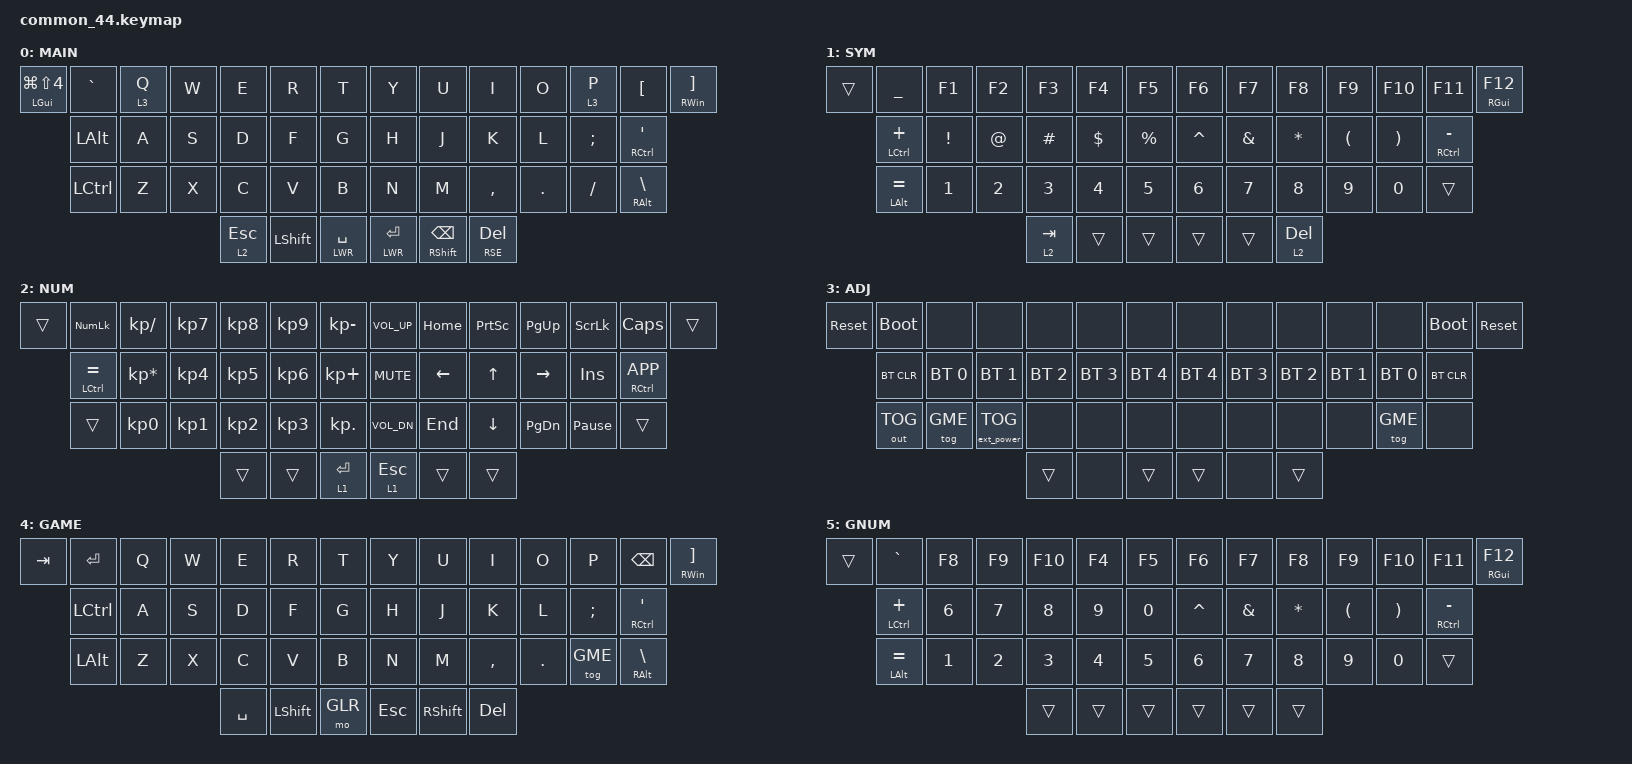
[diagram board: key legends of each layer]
/*
 * Copyright (c) 2020 The ZMK Contributors
 *
 * SPDX-License-Identifier: MIT
 */

#include <behaviors.dtsi>
#include <dt-bindings/zmk/bt.h>
#include <dt-bindings/zmk/ext_power.h>
#include <dt-bindings/zmk/keys.h>
#include <dt-bindings/zmk/outputs.h>

#define DEF 0
#define LWR 1
#define lower_layer LWR
#define RSE 2
#define raise_layer RSE
#define ADJ 3
#define adjust_layer ADJ
#define GME 4
#define GLR 5

&lt { quick-tap-ms = <200>; };

&mt { quick-tap-ms = <200>; };

/ {
    combos {
        compatible = "zmk,combos";

        ESCape {
            bindings = <&kp ESCAPE>;
            key-positions = <1 2>;
        };

        BSP {
            bindings = <&kp BACKSPACE>;
            key-positions = <11 12>;
        };

        TABul {
            bindings = <&kp TAB>;
            key-positions = <14 15>;
        };
    };

    macros {
        lang: lang {
            compatible = "zmk,behavior-macro";
            #binding-cells = <0>;
            bindings =
                <&macro_press>,
                <&kp LCTRL>,
                <&macro_tap>,
                <&kp SPACE>,
                <&macro_release>,
                <&kp LCTRL>;

            label = "LANG";
        };
    };

    behaviors {
        LT2Lang: LT2Lang {
            compatible = "zmk,behavior-hold-tap";
            label = "LT2LANG";
            bindings = <&lt>, <&lang>;

            #binding-cells = <2>;
            tapping-term-ms = <150>;
            flavor = "balanced";
            hold-trigger-key-positions = <38>;
        };

        lt2esclang: lt2esclang {
            compatible = "zmk,behavior-tap-dance";
            label = "LT2ESCLANG";
            #binding-cells = <0>;
            bindings = <&lt 2 ESCAPE>, <&lang>;
        };
    };

    keymap {
        compatible = "zmk,keymap";

        default_layer {
            label = "MAIN";

            // -----------------------------------------------------------------------------------------
            // |  GUI |   ~  |  Q  |  W  |  E  |  R  |  T  |   |  Y  |  U   |  I  |  O  |  P  |  [   | GUI/] |
            //        | CTRL |  A  |  S  |  D  |  F  |  G  |   |  H  |  J   |  K  |  L  |  ;  |CTRL/'|
            //        | LALT |  Z  |  X  |  C  |  V  |  B  |   |  N  |  M   |  ,  |  .  |  /  | RALT |
            //                           | RSE | SPC | LWR |   | LWR | BKSP | RSE |

            bindings = <
&mt LEFT_GUI LG(LS(NUMBER_4))  &kp GRAVE     &lt 3 Q  &kp W  &kp E         &kp R           &kp T            &kp Y          &kp U           &kp I        &kp O    &lt 3 P   &kp LBKT       &mt RWIN RBKT
                               &kp LEFT_ALT  &kp A    &kp S  &kp D         &kp F           &kp G            &kp H          &kp J           &kp K        &kp L    &kp SEMI  &mt RCTRL SQT
                               &kp LCTRL     &kp Z    &kp X  &kp C         &kp V           &kp B            &kp N          &kp M           &kp COMMA    &kp DOT  &kp FSLH  &mt RALT BSLH
                                                             &lt 2 ESCAPE  &kp LEFT_SHIFT  &lt LWR SPACE    &lt LWR ENTER  &mt RSHFT BSPC  &lt RSE DEL
            >;
        };

        lower_layer {
            label = "SYM";

            // -----------------------------------------------------------------------------------------
            // |     |  _  |  F1 |  F2 |  F3 |  F4 |  F5 |   |  F6 |  F7 |  F8 |  F9 | F10 | F11 | F12 |
            //       |  +  |  !  |  @  |  #  |  $  |  %  |   |  ^  |  &  |  *  |  (  |  )  |  -  |
            //       |  =  |  1  |  2  |  3  |  4  |  5  |   |  6  |  7  |  8  |  9  |  0  |     |
            //                    | GUI |     | SPC |   | ENT |     | ALT |

            bindings = <
&trans  &kp UNDER       &kp F1    &kp F2  &kp F3     &kp F4    &kp F5       &kp F6     &kp F7    &kp F8     &kp F9    &kp F10   &kp F11          &mt RGUI F12
        &mt LCTRL PLUS  &kp EXCL  &kp AT  &kp HASH   &kp DLLR  &kp PRCNT    &kp CARET  &kp AMPS  &kp STAR   &kp LPAR  &kp RPAR  &mt RCTRL MINUS
        &mt LALT EQUAL  &kp N1    &kp N2  &kp N3     &kp N4    &kp N5       &kp N6     &kp N7    &kp N8     &kp N9    &kp N0    &trans
                                          &lt 2 TAB  &trans    &trans       &trans     &trans    &lt 2 DEL
            >;
        };

        raise_layer {
            label = "NUM";

            // -----------------------------------------------------------------------------------------
            // |     | NMLK |  /  |  7  |  8  |  9  |  -  |   | VOLU| HOME| PRSC| PGUP| SCLK| CLCK|     |
            //       | CTRL |  *  |  4  |  5  |  6  |  +  |   | MUT | LEFT|  UP | RGHT| INS | APP |
            //       |      |  0  |  1  |  2  |  3  |  .  |   | VOLD| END | DOWN| PGDN| PAUS|     |
            //                          |     |     | ADJ |   | ADJ |     |     |

            bindings = <
&trans  &kp KP_NUM       &kp KP_SLASH     &kp KP_N7  &kp KP_N8  &kp KP_N9  &kp KP_MINUS    &kp C_VOL_UP  &kp HOME  &kp PSCRN  &kp PG_UP  &kp SLCK         &kp CAPS         &trans
        &mt LCTRL EQUAL  &kp KP_MULTIPLY  &kp KP_N4  &kp KP_N5  &kp KP_N6  &kp KP_PLUS     &kp C_MUTE    &kp LEFT  &kp UP     &kp RIGHT  &kp INS          &mt RCTRL K_APP
        &trans           &kp KP_N0        &kp KP_N1  &kp KP_N2  &kp KP_N3  &kp KP_DOT      &kp C_VOL_DN  &kp END   &kp DOWN   &kp PG_DN  &kp PAUSE_BREAK  &trans
                                                     &trans     &trans     &lt 1 RET       &lt 1 ESC     &trans    &trans
            >;
        };

        adjust_layer {
            label = "ADJ";

            // -----------------------------------------------------------------------------------------
            // | RST | BLDR |     |     |     |     |     |   |     |     |     |     |     | BLDR | RST |
            //       | BTCLR| BT0 | BT1 | BT2 | BT3 | BT4 |   | BT4 | BT3 | BT2 | BT1 | BT0 | BTCLR|
            //       |      |     |     |     |     |     |   |     |     |     |     |     |      |
            //                          |     |     |     |   |     |     |     |

            bindings = <
&sys_reset  &bootloader   &none         &none              &none         &none         &none           &none         &none         &none         &none         &none         &bootloader  &sys_reset
            &bt BT_CLR    &bt BT_SEL 0  &bt BT_SEL 1       &bt BT_SEL 2  &bt BT_SEL 3  &bt BT_SEL 4    &bt BT_SEL 4  &bt BT_SEL 3  &bt BT_SEL 2  &bt BT_SEL 1  &bt BT_SEL 0  &bt BT_CLR
            &out OUT_TOG  &tog GME      &ext_power EP_TOG  &none         &none         &none           &none         &none         &none         &none         &tog GME      &none
                                                           &trans        &none         &trans          &trans        &none         &trans
            >;
        };

        gaming_layer {
            label = "GAME";

            // -----------------------------------------------------------------------------------------
            // |  GUI |   ~  |  Q  |  W  |  E  |  R  |  T  |   |  Y  |  U   |  I  |  O  |  P  |  [   | GUI/] |
            //        | CTRL |  A  |  S  |  D  |  F  |  G  |   |  H  |  J   |  K  |  L  |  ;  |CTRL/'|
            //        | LALT |  Z  |  X  |  C  |  V  |  B  |   |  N  |  M   |  ,  |  .  |  /  | RALT |
            //                           | RSE | SPC | LWR |   | LWR | BKSP | RSE |

            bindings = <
&kp TAB  &kp RET    &kp Q  &kp W  &kp E      &kp R      &kp T      &kp Y    &kp U      &kp I      &kp O    &kp P     &kp BSPC       &mt RWIN RBKT
         &kp LCTRL  &kp A  &kp S  &kp D      &kp F      &kp G      &kp H    &kp J      &kp K      &kp L    &kp SEMI  &mt RCTRL SQT
         &kp LALT   &kp Z  &kp X  &kp C      &kp V      &kp B      &kp N    &kp M      &kp COMMA  &kp DOT  &tog GME  &mt RALT BSLH
                                  &kp SPACE  &kp LSHFT  &mo GLR    &kp ESC  &kp RSHFT  &kp DEL
            >;
        };

        gaming_lower_layer {
            label = "GNUM";

            // -----------------------------------------------------------------------------------------
            // |     |  _  |  F1 |  F2 |  F3 |  F4 |  F5 |   |  F6 |  F7 |  F8 |  F9 | F10 | F11 | F12 |
            //       |  +  |  !  |  @  |  #  |  $  |  %  |   |  ^  |  &  |  *  |  (  |  )  |  -  |
            //       |  =  |  1  |  2  |  3  |  4  |  5  |   |  6  |  7  |  8  |  9  |  0  |     |
            //                    | GUI |     | SPC |   | ENT |     | ALT |

            bindings = <
&trans  &kp GRAVE       &kp F8  &kp F9  &kp F10  &kp F4  &kp F5    &kp F6     &kp F7    &kp F8    &kp F9    &kp F10   &kp F11          &mt RGUI F12
        &mt LCTRL PLUS  &kp N6  &kp N7  &kp N8   &kp N9  &kp N0    &kp CARET  &kp AMPS  &kp STAR  &kp LPAR  &kp RPAR  &mt RCTRL MINUS
        &mt LALT EQUAL  &kp N1  &kp N2  &kp N3   &kp N4  &kp N5    &kp N6     &kp N7    &kp N8    &kp N9    &kp N0    &trans
                                        &trans   &trans  &trans    &trans     &trans    &trans
            >;
        };
    };

    conditional_layers {
        compatible = "zmk,conditional-layers";

        adj {
            if-layers = <1 2>;
            then-layer = <3>;
        };
    };
};
